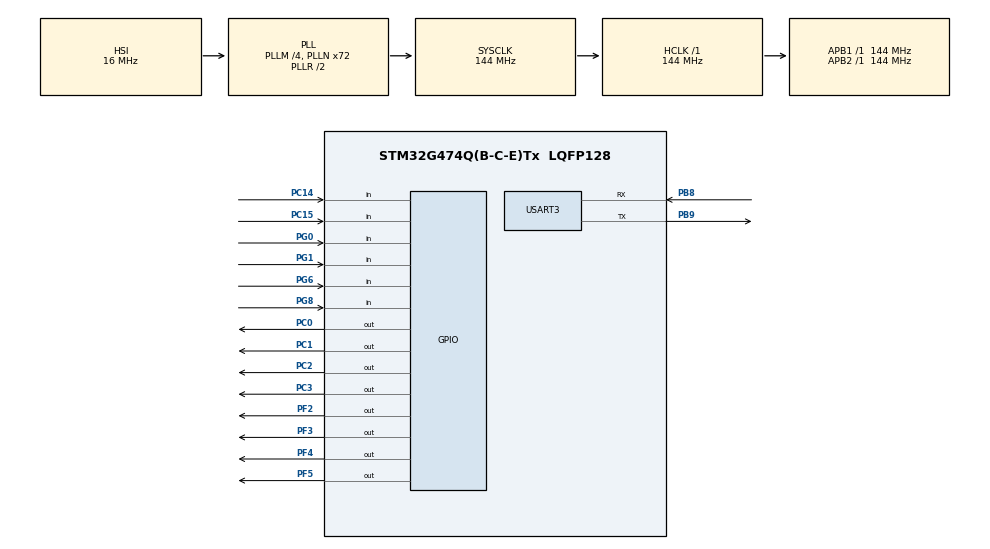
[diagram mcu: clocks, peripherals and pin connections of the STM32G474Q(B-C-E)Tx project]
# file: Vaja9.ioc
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Mcu.Family=STM32G4
Mcu.Name=STM32G474Q(B-C-E)Tx
Mcu.Package=LQFP128
NVIC.PriorityGroup=NVIC_PRIORITYGROUP_4
NVIC.TIM6_DAC_IRQn=true\:15\:0\:true\:false\:true\:true\:true
NVIC.USART3_IRQn=true\:0\:0\:false\:false\:true\:true\:true
PB8-BOOT0.Mode=Asynchronous
PB8-BOOT0.Signal=USART3_RX
PB9.Mode=Asynchronous
PB9.Signal=USART3_TX
PC0.GPIO_PuPd=GPIO_NOPULL
PC0.Signal=GPIO_Output
PC1.Signal=GPIO_Output
PC14-OSC32_IN.GPIO_PuPd=GPIO_PULLUP
PC14-OSC32_IN.Signal=GPIO_Input
PC15-OSC32_OUT.GPIO_PuPd=GPIO_PULLUP
PC15-OSC32_OUT.Signal=GPIO_Input
PC2.Signal=GPIO_Output
PC3.Signal=GPIO_Output
PF2.Signal=GPIO_Output
PF3.Signal=GPIO_Output
PF4.Signal=GPIO_Output
PF5.Signal=GPIO_Output
PG0.GPIO_PuPd=GPIO_PULLUP
PG0.Signal=GPIO_Input
PG1.GPIO_PuPd=GPIO_PULLUP
PG1.Signal=GPIO_Input
PG6.GPIO_PuPd=GPIO_PULLUP
PG6.Signal=GPIO_Input
PG8.GPIO_PuPd=GPIO_PULLUP
PG8.Signal=GPIO_Input
ProjectManager.HeapSize=0x200
ProjectManager.StackSize=0x400
ProjectManager.TargetToolchain=STM32CubeIDE
RCC.ADC12Freq_Value=144000000
RCC.ADC345Freq_Value=144000000
RCC.AHBFreq_Value=144000000
RCC.APB1Freq_Value=144000000
RCC.APB1TimFreq_Value=144000000
RCC.APB2Freq_Value=144000000
RCC.APB2TimFreq_Value=144000000
RCC.CK48CLockSelection=RCC_USBCLKSOURCE_HSI48
RCC.CortexFreq_Value=144000000
RCC.EXTERNAL_CLOCK_VALUE=12288000
RCC.HCLKFreq_Value=144000000
RCC.HSE_VALUE=8000000
RCC.HSI48_VALUE=48000000
RCC.HSI_VALUE=16000000
RCC.LSE_VALUE=32768
RCC.PLLM=RCC_PLLM_DIV4
RCC.PLLN=72
RCC.SYSCLKFreq_VALUE=144000000
RCC.SYSCLKSource=RCC_SYSCLKSOURCE_PLLCLK
RCC.USBFreq_Value=48000000
RCC.VCOOutputFreq_Value=288000000
TIM6.PeriodNoDither=49999
TIM6.Prescaler=143
USART3.OverrunDisableParam=ADVFEATURE_OVERRUN_DISABLE
USART3.VirtualMode-Asynchronous=VM_ASYNC
VP_SYS_VS_DBSignals.Mode=DisableDeadBatterySignals
VP_TIM6_VS_ClockSourceINT.Mode=Enable_Timer
board=custom

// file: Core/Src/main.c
/* USER CODE BEGIN Header */
/**
  ******************************************************************************
  * @file           : main.c
  * @brief          : Main program body
  ******************************************************************************
  * @attention
  *
  * Copyright (c) 2022 STMicroelectronics.
  * All rights reserved.
  *
  * This software is licensed under terms that can be found in the LICENSE file
  * in the root directory of this software component.
  * If no LICENSE file comes with this software, it is provided AS-IS.
  *
  ******************************************************************************
  */
/* USER CODE END Header */
#include "main.h"

/* USER CODE BEGIN Includes */
#include "LED.h"
#include "kbd.h"
#include "buf.h"
#include "SCI.h"
#include "timing_utils.h"
#include "periodic_services.h"
/* USER CODE END Includes */

void SystemClock_Config(void);
static void MX_GPIO_Init(void);
static void MX_USART3_UART_Init(void);
static void MX_TIM6_Init(void);

int main(void)
{

  /* MCU Configuration--------------------------------------------------------*/

  /* Reset of all peripherals, Initializes the Flash interface and the Systick. */
  HAL_Init();

  /* Configure the system clock */
  SystemClock_Config();

  /* Initialize all configured peripherals */
  MX_GPIO_Init();
  MX_USART3_UART_Init();
  MX_TIM6_Init();

  /* Infinite loop */
  /* USER CODE BEGIN WHILE */

  LED_init();
  //LED_demo();

  LEDs_on(0b10101010);
  HAL_Delay(200);
  LEDs_off(LEDs_read());
  LEDs_on(0b01010101);
  HAL_Delay(200);
  LEDs_off(LEDs_read());
  LEDs_on(0b10101010);
  HAL_Delay(200);
  LEDs_write(0);

  KBD_init();

  SCI_init();

  //SCI_demo_Hello_world();
  /*
  SCI_send_char('B');
  printf("Hello world");
  SCI_demo_Hello_world_printf();
  SCI_demo_echo_with_polling();
  //*/

 // SCI_demo_receive_with_interrupts();
 //SCI_demo_transmit_with_interrupts();
 //SCI_demo_echo_with_interrupts();

  PSERV_init();
  PSERV_enable();

  //TIMUT_stopwatch_demo();

  while (1)
  {
    /* USER CODE END WHILE */
	  HAL_PWR_EnterSLEEPMode(PWR_MAINREGULATOR_ON, PWR_SLEEPENTRY_WFI);

	  //LED_toggle(LED7);
  }
}

void SystemClock_Config(void)
{
  RCC_OscInitTypeDef RCC_OscInitStruct = {0};
  RCC_ClkInitTypeDef RCC_ClkInitStruct = {0};

  /** Configure the main internal regulator output voltage
  */
  HAL_PWREx_ControlVoltageScaling(PWR_REGULATOR_VOLTAGE_SCALE1);
  /** Initializes the RCC Oscillators according to the specified parameters
  * in the RCC_OscInitTypeDef structure.
  */
  RCC_OscInitStruct.OscillatorType = RCC_OSCILLATORTYPE_HSI;
  RCC_OscInitStruct.HSIState = RCC_HSI_ON;
  RCC_OscInitStruct.HSICalibrationValue = RCC_HSICALIBRATION_DEFAULT;
  RCC_OscInitStruct.PLL.PLLState = RCC_PLL_ON;
  RCC_OscInitStruct.PLL.PLLSource = RCC_PLLSOURCE_HSI;
  RCC_OscInitStruct.PLL.PLLM = RCC_PLLM_DIV4;
  RCC_OscInitStruct.PLL.PLLN = 72;
  RCC_OscInitStruct.PLL.PLLP = RCC_PLLP_DIV2;
  RCC_OscInitStruct.PLL.PLLQ = RCC_PLLQ_DIV2;
  RCC_OscInitStruct.PLL.PLLR = RCC_PLLR_DIV2;
  if (HAL_RCC_OscConfig(&RCC_OscInitStruct) != HAL_OK)
  {
    Error_Handler();
  }
  /** Initializes the CPU, AHB and APB buses clocks
  */
  RCC_ClkInitStruct.ClockType = RCC_CLOCKTYPE_HCLK|RCC_CLOCKTYPE_SYSCLK
                              |RCC_CLOCKTYPE_PCLK1|RCC_CLOCKTYPE_PCLK2;
  RCC_ClkInitStruct.SYSCLKSource = RCC_SYSCLKSOURCE_PLLCLK;
  RCC_ClkInitStruct.AHBCLKDivider = RCC_SYSCLK_DIV1;
  RCC_ClkInitStruct.APB1CLKDivider = RCC_HCLK_DIV1;
  RCC_ClkInitStruct.APB2CLKDivider = RCC_HCLK_DIV1;

  if (HAL_RCC_ClockConfig(&RCC_ClkInitStruct, FLASH_LATENCY_4) != HAL_OK)
  {
    Error_Handler();
  }
}

static void MX_TIM6_Init(void)
{

  LL_TIM_InitTypeDef TIM_InitStruct = {0};

  /* Peripheral clock enable */
  LL_APB1_GRP1_EnableClock(LL_APB1_GRP1_PERIPH_TIM6);

  /* TIM6 interrupt Init */
  NVIC_SetPriority(TIM6_DAC_IRQn, NVIC_EncodePriority(NVIC_GetPriorityGrouping(),15, 0));
  NVIC_EnableIRQ(TIM6_DAC_IRQn);

  TIM_InitStruct.Prescaler = 143;
  TIM_InitStruct.CounterMode = LL_TIM_COUNTERMODE_UP;
  TIM_InitStruct.Autoreload = 49999;
  LL_TIM_Init(TIM6, &TIM_InitStruct);
  LL_TIM_DisableARRPreload(TIM6);
  LL_TIM_SetTriggerOutput(TIM6, LL_TIM_TRGO_RESET);
  LL_TIM_DisableMasterSlaveMode(TIM6);

}

static void MX_USART3_UART_Init(void)
{

  LL_USART_InitTypeDef USART_InitStruct = {0};

  LL_GPIO_InitTypeDef GPIO_InitStruct = {0};
  RCC_PeriphCLKInitTypeDef PeriphClkInit = {0};

  /** Initializes the peripherals clocks
  */
  PeriphClkInit.PeriphClockSelection = RCC_PERIPHCLK_USART3;
  PeriphClkInit.Usart3ClockSelection = RCC_USART3CLKSOURCE_PCLK1;
  if (HAL_RCCEx_PeriphCLKConfig(&PeriphClkInit) != HAL_OK)
  {
    Error_Handler();
  }

  /* Peripheral clock enable */
  LL_APB1_GRP1_EnableClock(LL_APB1_GRP1_PERIPH_USART3);

  LL_AHB2_GRP1_EnableClock(LL_AHB2_GRP1_PERIPH_GPIOB);
  /**USART3 GPIO Configuration
  PB8-BOOT0   ------> USART3_RX
  PB9   ------> USART3_TX
  */
  GPIO_InitStruct.Pin = LL_GPIO_PIN_8;
  GPIO_InitStruct.Mode = LL_GPIO_MODE_ALTERNATE;
  GPIO_InitStruct.Speed = LL_GPIO_SPEED_FREQ_LOW;
  GPIO_InitStruct.OutputType = LL_GPIO_OUTPUT_PUSHPULL;
  GPIO_InitStruct.Pull = LL_GPIO_PULL_NO;
  GPIO_InitStruct.Alternate = LL_GPIO_AF_7;
  LL_GPIO_Init(GPIOB, &GPIO_InitStruct);

  GPIO_InitStruct.Pin = LL_GPIO_PIN_9;
  GPIO_InitStruct.Mode = LL_GPIO_MODE_ALTERNATE;
  GPIO_InitStruct.Speed = LL_GPIO_SPEED_FREQ_LOW;
  GPIO_InitStruct.OutputType = LL_GPIO_OUTPUT_PUSHPULL;
  GPIO_InitStruct.Pull = LL_GPIO_PULL_NO;
  GPIO_InitStruct.Alternate = LL_GPIO_AF_7;
  LL_GPIO_Init(GPIOB, &GPIO_InitStruct);

  /* USART3 interrupt Init */
  NVIC_SetPriority(USART3_IRQn, NVIC_EncodePriority(NVIC_GetPriorityGrouping(),0, 0));
  NVIC_EnableIRQ(USART3_IRQn);

  USART_InitStruct.PrescalerValue = LL_USART_PRESCALER_DIV1;
  USART_InitStruct.BaudRate = 115200;
  USART_InitStruct.DataWidth = LL_USART_DATAWIDTH_8B;
  USART_InitStruct.StopBits = LL_USART_STOPBITS_1;
  USART_InitStruct.Parity = LL_USART_PARITY_NONE;
  USART_InitStruct.TransferDirection = LL_USART_DIRECTION_TX_RX;
  USART_InitStruct.HardwareFlowControl = LL_USART_HWCONTROL_NONE;
  USART_InitStruct.OverSampling = LL_USART_OVERSAMPLING_16;
  LL_USART_Init(USART3, &USART_InitStruct);
  LL_USART_SetTXFIFOThreshold(USART3, LL_USART_FIFOTHRESHOLD_1_8);
  LL_USART_SetRXFIFOThreshold(USART3, LL_USART_FIFOTHRESHOLD_1_8);
  LL_USART_DisableFIFO(USART3);
  LL_USART_DisableOverrunDetect(USART3);
  LL_USART_ConfigAsyncMode(USART3);

  LL_USART_Enable(USART3);

  /* Polling USART3 initialisation */
  while((!(LL_USART_IsActiveFlag_TEACK(USART3))) || (!(LL_USART_IsActiveFlag_REACK(USART3))))
  {
  }

}

static void MX_GPIO_Init(void)
{
  LL_GPIO_InitTypeDef GPIO_InitStruct = {0};

  /* GPIO Ports Clock Enable */
  LL_AHB2_GRP1_EnableClock(LL_AHB2_GRP1_PERIPH_GPIOC);
  LL_AHB2_GRP1_EnableClock(LL_AHB2_GRP1_PERIPH_GPIOF);
  LL_AHB2_GRP1_EnableClock(LL_AHB2_GRP1_PERIPH_GPIOG);
  LL_AHB2_GRP1_EnableClock(LL_AHB2_GRP1_PERIPH_GPIOB);

  /**/
  LL_GPIO_ResetOutputPin(GPIOF, LL_GPIO_PIN_3);

  /**/
  LL_GPIO_ResetOutputPin(GPIOF, LL_GPIO_PIN_4);

  /**/
  LL_GPIO_ResetOutputPin(GPIOF, LL_GPIO_PIN_5);

  /**/
  LL_GPIO_ResetOutputPin(GPIOC, LL_GPIO_PIN_0);

  /**/
  LL_GPIO_ResetOutputPin(GPIOC, LL_GPIO_PIN_1);

  /**/
  LL_GPIO_ResetOutputPin(GPIOC, LL_GPIO_PIN_2);

  /**/
  LL_GPIO_ResetOutputPin(GPIOC, LL_GPIO_PIN_3);

  /**/
  LL_GPIO_ResetOutputPin(GPIOF, LL_GPIO_PIN_2);

  /**/
  GPIO_InitStruct.Pin = LL_GPIO_PIN_14;
  GPIO_InitStruct.Mode = LL_GPIO_MODE_INPUT;
  GPIO_InitStruct.Pull = LL_GPIO_PULL_UP;
  LL_GPIO_Init(GPIOC, &GPIO_InitStruct);

  /**/
  GPIO_InitStruct.Pin = LL_GPIO_PIN_15;
  GPIO_InitStruct.Mode = LL_GPIO_MODE_INPUT;
  GPIO_InitStruct.Pull = LL_GPIO_PULL_UP;
  LL_GPIO_Init(GPIOC, &GPIO_InitStruct);

  /**/
  GPIO_InitStruct.Pin = LL_GPIO_PIN_3;
  GPIO_InitStruct.Mode = LL_GPIO_MODE_OUTPUT;
  GPIO_InitStruct.Speed = LL_GPIO_SPEED_FREQ_LOW;
  GPIO_InitStruct.OutputType = LL_GPIO_OUTPUT_PUSHPULL;
  GPIO_InitStruct.Pull = LL_GPIO_PULL_NO;
  LL_GPIO_Init(GPIOF, &GPIO_InitStruct);

  /**/
  GPIO_InitStruct.Pin = LL_GPIO_PIN_4;
  GPIO_InitStruct.Mode = LL_GPIO_MODE_OUTPUT;
  GPIO_InitStruct.Speed = LL_GPIO_SPEED_FREQ_LOW;
  GPIO_InitStruct.OutputType = LL_GPIO_OUTPUT_PUSHPULL;
  GPIO_InitStruct.Pull = LL_GPIO_PULL_NO;
  LL_GPIO_Init(GPIOF, &GPIO_InitStruct);

  /**/
  GPIO_InitStruct.Pin = LL_GPIO_PIN_5;
  GPIO_InitStruct.Mode = LL_GPIO_MODE_OUTPUT;
  GPIO_InitStruct.Speed = LL_GPIO_SPEED_FREQ_LOW;
  GPIO_InitStruct.OutputType = LL_GPIO_OUTPUT_PUSHPULL;
  GPIO_InitStruct.Pull = LL_GPIO_PULL_NO;
  LL_GPIO_Init(GPIOF, &GPIO_InitStruct);

  /**/
  GPIO_InitStruct.Pin = LL_GPIO_PIN_0;
  GPIO_InitStruct.Mode = LL_GPIO_MODE_OUTPUT;
  GPIO_InitStruct.Speed = LL_GPIO_SPEED_FREQ_LOW;
  GPIO_InitStruct.OutputType = LL_GPIO_OUTPUT_PUSHPULL;
  GPIO_InitStruct.Pull = LL_GPIO_PULL_NO;
  LL_GPIO_Init(GPIOC, &GPIO_InitStruct);

  /**/
  GPIO_InitStruct.Pin = LL_GPIO_PIN_1;
  GPIO_InitStruct.Mode = LL_GPIO_MODE_OUTPUT;
  GPIO_InitStruct.Speed = LL_GPIO_SPEED_FREQ_LOW;
  GPIO_InitStruct.OutputType = LL_GPIO_OUTPUT_PUSHPULL;
  GPIO_InitStruct.Pull = LL_GPIO_PULL_NO;
  LL_GPIO_Init(GPIOC, &GPIO_InitStruct);

  /**/
  GPIO_InitStruct.Pin = LL_GPIO_PIN_2;
  GPIO_InitStruct.Mode = LL_GPIO_MODE_OUTPUT;
  GPIO_InitStruct.Speed = LL_GPIO_SPEED_FREQ_LOW;
  GPIO_InitStruct.OutputType = LL_GPIO_OUTPUT_PUSHPULL;
  GPIO_InitStruct.Pull = LL_GPIO_PULL_NO;
  LL_GPIO_Init(GPIOC, &GPIO_InitStruct);

  /**/
  GPIO_InitStruct.Pin = LL_GPIO_PIN_3;
  GPIO_InitStruct.Mode = LL_GPIO_MODE_OUTPUT;
  GPIO_InitStruct.Speed = LL_GPIO_SPEED_FREQ_LOW;
  GPIO_InitStruct.OutputType = LL_GPIO_OUTPUT_PUSHPULL;
  GPIO_InitStruct.Pull = LL_GPIO_PULL_NO;
  LL_GPIO_Init(GPIOC, &GPIO_InitStruct);

  /**/
  GPIO_InitStruct.Pin = LL_GPIO_PIN_2;
  GPIO_InitStruct.Mode = LL_GPIO_MODE_OUTPUT;
  GPIO_InitStruct.Speed = LL_GPIO_SPEED_FREQ_LOW;
  GPIO_InitStruct.OutputType = LL_GPIO_OUTPUT_PUSHPULL;
  GPIO_InitStruct.Pull = LL_GPIO_PULL_NO;
  LL_GPIO_Init(GPIOF, &GPIO_InitStruct);

  /**/
  GPIO_InitStruct.Pin = LL_GPIO_PIN_0;
  GPIO_InitStruct.Mode = LL_GPIO_MODE_INPUT;
  GPIO_InitStruct.Pull = LL_GPIO_PULL_UP;
  LL_GPIO_Init(GPIOG, &GPIO_InitStruct);

  /**/
  GPIO_InitStruct.Pin = LL_GPIO_PIN_1;
  GPIO_InitStruct.Mode = LL_GPIO_MODE_INPUT;
  GPIO_InitStruct.Pull = LL_GPIO_PULL_UP;
  LL_GPIO_Init(GPIOG, &GPIO_InitStruct);

  /**/
  GPIO_InitStruct.Pin = LL_GPIO_PIN_6;
  GPIO_InitStruct.Mode = LL_GPIO_MODE_INPUT;
  GPIO_InitStruct.Pull = LL_GPIO_PULL_UP;
  LL_GPIO_Init(GPIOG, &GPIO_InitStruct);

  /**/
  GPIO_InitStruct.Pin = LL_GPIO_PIN_8;
  GPIO_InitStruct.Mode = LL_GPIO_MODE_INPUT;
  GPIO_InitStruct.Pull = LL_GPIO_PULL_UP;
  LL_GPIO_Init(GPIOG, &GPIO_InitStruct);

}

void Error_Handler(void)
{
  __disable_irq();
  while (1)
  {
  }
}
